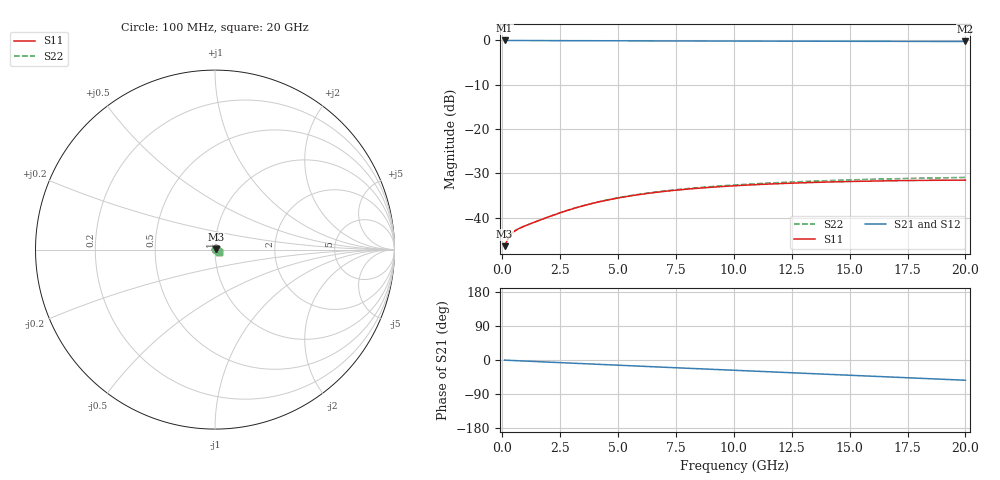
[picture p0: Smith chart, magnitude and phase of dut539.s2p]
! Touchstone file exported from HFSS 2026.1.0
!  File:  C:/ffzhzh/LocalFiles/Ansys_Project_Files/temp_train_BSMRDL_539_1783014896_53980.aedt
!  Generated:  01:56:29 AM Jul  3, 2026
!  Design:  BSMRDL
!  Project:  temp_train_BSMRDL_539_1783014896_53980
! Variables:
!  h_bsmrdl = 4.5um
!  h_ox = 20um
!  h_rdl = 5um
!  h_sub = 80um
!  h_tmrdl = 5um
!  h_tsv = 80um
!  h_via = 3um
!  l_bsmrdl = 972.03um
!  l_sub = 1372.03um
!  l_tmrdl = 200um
!  m_sub = 200um
!  pitch = 21.77um
!  r_tsv = 6um
!  s_tmrdl = 10um
!  w_bsmrdl = 17.35um
!  w_sub = 500um
!  w_tmrdl = 12um
!  x_tsv_center1 = 206um
!  x_tsv_center2 = 1195.38um
!  x_tsv_center3 = 1407.38um
!  x_tsv_center4 = 2396.76um
!  x_tsv_center5 = 2608.76um
!  x_tsv_center6 = 3598.14um
# GHz S MA R 50.000000
! Terminal data exported
! Port[1] = BSM_RDL1_1_T1
! Port[2] = BSM_RDL1_1_T2
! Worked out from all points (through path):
!   200 points, 100 MHz to 20 GHz, reference 50 ohm
!   highest |S21| = -0.04 dB at 100 MHz (marker M1); lowest = -0.3 dB at 20 GHz (marker M2)
!   group delay of S21, straight-line fit = 7.38 ps
!   lowest |S11| = -46.4 dB at 100 MHz (marker M3), VSWR 1.01, Z = 50.5 + j0.102 ohm
!   |S11| at or under -10 dB: start of sweep to end of sweep
!   |S22| runs from -46.4 to -30.9 dB; largest |S21 - S12| = 1.9e-14
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0.1  0.004767 12.3  0.9953 -0.3  0.9953 -0.3  0.004767 12.3
! Gamma 0 0 0 0
! Port Impedance 50 0 50 0
0.2  0.005457 18.5  0.9948 -0.6  0.9948 -0.6  0.005457 18.5
0.3  0.006097 20.5  0.9943 -0.9  0.9943 -0.9  0.006099 20.6
0.4  0.006588 21.1  0.9939 -1.2  0.9939 -1.2  0.006591 21.2
0.5  0.006956 21.4  0.9936 -1.5  0.9936 -1.5  0.006961 21.4
0.7  0.007489 22.1  0.9932 -2.0  0.9932 -2.0  0.007497 22.1
1.1  0.008305 24.4  0.9926 -3.1  0.9926 -3.1  0.008317 24.4
2.2  0.01065 29.3  0.9913 -6.2  0.9913 -6.2  0.01068 29.2
2.9  0.01227 29.8  0.9902 -8.1  0.9902 -8.1  0.0123 29.6
3.5  0.01362 28.9  0.9892 -9.7  0.9892 -9.7  0.01367 28.7
4.2  0.01511 27.1  0.988 -11.6  0.988 -11.6  0.01518 26.8
5  0.01665 24.3  0.9866 -13.8  0.9866 -13.8  0.01676 24.0
5.9  0.01818 20.7  0.9851 -16.2  0.9851 -16.2  0.01834 20.3
6.8  0.0195 17.0  0.9837 -18.6  0.9837 -18.6  0.01971 16.5
8.3  0.0213 10.6  0.9815 -22.6  0.9815 -22.6  0.02162 10.1
10.1  0.02293 3.3  0.9791 -27.4  0.9791 -27.4  0.02341 2.5
11.7  0.02403 -3.1  0.9773 -31.6  0.9773 -31.6  0.02468 -3.9
13.4  0.02492 -9.5  0.9756 -36.1  0.9756 -36.1  0.02578 -10.5
15  0.02555 -15.5  0.974 -40.3  0.974 -40.3  0.02663 -16.6
16.7  0.02603 -21.6  0.9725 -44.7  0.9725 -44.7  0.02737 -22.8
18.4  0.02634 -27.6  0.9711 -49.2  0.9711 -49.2  0.02796 -29.0
20  0.0265 -33.2  0.9698 -53.4  0.9698 -53.4  0.02838 -34.7
